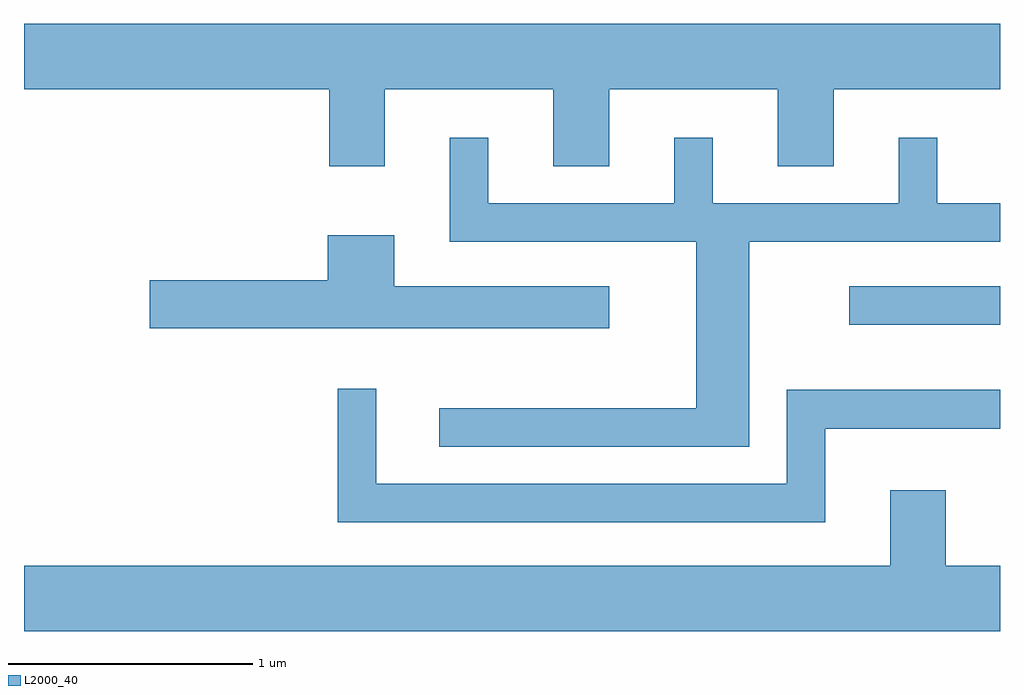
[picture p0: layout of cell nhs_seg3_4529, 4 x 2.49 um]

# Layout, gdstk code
import gdstk
lib = gdstk.Library(unit=1e-6, precision=1e-09)
def R(c, l, rs):  # rectangles x0, y0, x1, y1
    for r in rs: c.add(gdstk.rectangle(r[:2], r[2:], *l))
def P(c, l, *ps):  # polygons
    for p in ps: c.add(gdstk.Polygon(p, *l))
L2000_40 = (2000, 40)

nhs_seg3_4529 = lib.new_cell('nhs_seg3_4529')
R(nhs_seg3_4529, L2000_40, [(320.993,1200.531,321.611,1200.689)])
P(nhs_seg3_4529, L2000_40, [(319.089,1201.496),(319.781,1201.496),(319.781,1201.181),(320.009,1201.181),(320.009,1201.496),(320.701,1201.496),(320.701,1201.181),(320.929,1201.181),(320.929,1201.496),(321.611,1201.496),(321.611,1201.764),(317.611,1201.764),(317.611,1201.496),(318.861,1201.496),(318.861,1201.181),(319.089,1201.181)],
  [(320.584,1200.871),(321.611,1200.871),(321.611,1201.029),(321.354,1201.029),(321.354,1201.298),(321.196,1201.298),(321.196,1201.029),(320.434,1201.029),(320.434,1201.298),(320.276,1201.298),(320.276,1201.029),(319.514,1201.029),(319.514,1201.298),(319.356,1201.298),(319.356,1200.871),(320.366,1200.871),(320.366,1200.189),(319.313,1200.189),(319.313,1200.031),(320.584,1200.031)],
  [(320.009,1200.689),(319.129,1200.689),(319.129,1200.899),(318.856,1200.899),(318.856,1200.714),(318.126,1200.714),(318.126,1200.516),(320.009,1200.516)],
  [(320.894,1200.106),(321.611,1200.106),(321.611,1200.264),(320.736,1200.264),(320.736,1199.879),(319.054,1199.879),(319.054,1200.268),(318.896,1200.268),(318.896,1199.721),(320.894,1199.721)],
  [(321.611,1199.544),(321.389,1199.544),(321.389,1199.854),(321.161,1199.854),(321.161,1199.544),(317.611,1199.544),(317.611,1199.276),(321.611,1199.276)])

lib.write_gds('nhs_seg3_4529.gds')
